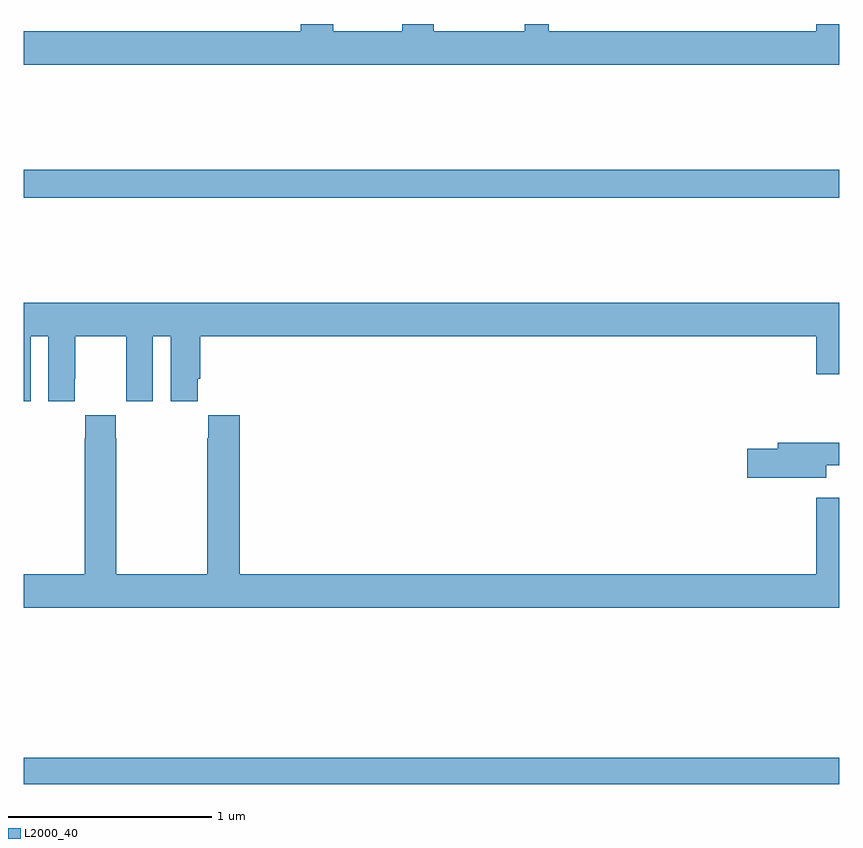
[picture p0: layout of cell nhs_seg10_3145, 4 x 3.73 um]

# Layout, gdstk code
import gdstk
lib = gdstk.Library(unit=1e-6, precision=1e-09)
def R(c, l, rs):  # rectangles x0, y0, x1, y1
    for r in rs: c.add(gdstk.rectangle(r[:2], r[2:], *l))
def P(c, l, *ps):  # polygons
    for p in ps: c.add(gdstk.Polygon(p, *l))
L2000_40 = (2000, 40)

nhs_seg10_3145 = lib.new_cell('nhs_seg10_3145')
R(nhs_seg10_3145, L2000_40, [(281,1312.77,285,1312.898), (281,1315.648,285,1315.784)])
P(nhs_seg10_3145, L2000_40, [(285,1316.5),(284.888,1316.5),(284.888,1316.464),(283.576,1316.464),(283.576,1316.5),(283.457,1316.5),(283.457,1316.464),(283.011,1316.464),(283.011,1316.5),(282.856,1316.5),(282.856,1316.464),(282.519,1316.464),(282.519,1316.5),(282.359,1316.5),(282.359,1316.464),(281,1316.464),(281,1316.3),(285,1316.3)],
  [(281.032,1314.968),(281.12,1314.968),(281.12,1314.648),(281.25,1314.648),(281.25,1314.76),(281.251,1314.76),(281.251,1314.968),(281.501,1314.968),(281.501,1314.76),(281.502,1314.76),(281.502,1314.648),(281.632,1314.648),(281.632,1314.968),(281.72,1314.968),(281.72,1314.648),(281.854,1314.648),(281.854,1314.76),(281.864,1314.76),(281.864,1314.968),(284.888,1314.968),(284.888,1314.78),(285,1314.78),(285,1315.132),(281,1315.132),(281,1314.648),(281.032,1314.648)],
  [(285,1314.175),(284.888,1314.175),(284.888,1313.8),(282.059,1313.8),(282.059,1314.58),(281.905,1314.58),(281.905,1314.467),(281.899,1314.467),(281.899,1313.8),(281.454,1313.8),(281.454,1314.467),(281.451,1314.467),(281.451,1314.58),(281.301,1314.58),(281.301,1314.467),(281.299,1314.467),(281.299,1313.8),(281,1313.8),(281,1313.636),(285,1313.636)],
  [(284.938,1314.335),(285,1314.335),(285,1314.445),(284.699,1314.445),(284.699,1314.416),(284.55,1314.416),(284.55,1314.274),(284.938,1314.274)])

lib.write_gds('nhs_seg10_3145.gds')
